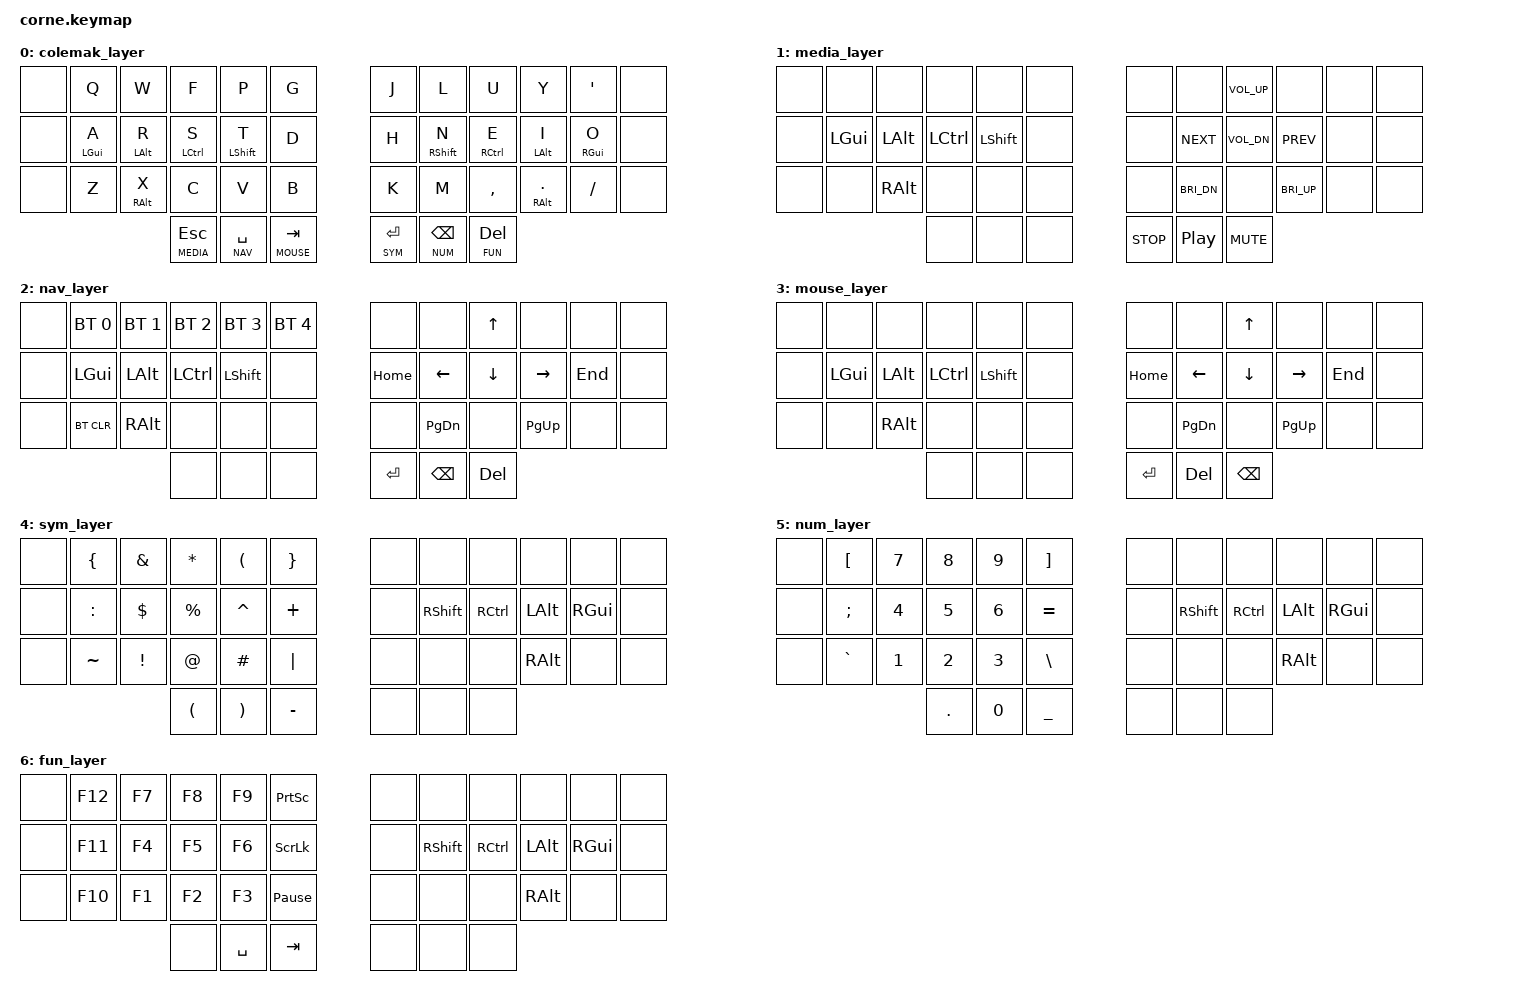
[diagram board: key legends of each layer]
/*
 * Copyright (c) 2020 The ZMK Contributors
 *
 * SPDX-License-Identifier: MIT
 */

#include <behaviors.dtsi>
#include <dt-bindings/zmk/keys.h>
#include <dt-bindings/zmk/bt.h>

#define COLEMAK 0
#define MEDIA 1
#define NAV 2
#define MOUSE 3
#define SYM 4
#define NUM 5
#define FUN 6

/ {
        keymap {
                compatible = "zmk,keymap";

                colemak_layer {
                        bindings = <
   &none &kp Q      &kp W       &kp F          &kp P          &kp G              &kp J         &kp L         &kp U         &kp Y        &kp SQT      &none
   &none &mt LGUI A &mt LALT R  &mt LCTRL S    &mt LSHFT T    &kp D              &kp H         &mt RSHFT N   &mt RCTRL E   &mt LALT I   &mt RGUI O   &none
   &none &kp Z      &mt RALT X  &kp C          &kp V          &kp B              &kp K         &kp M         &kp COMMA     &mt RALT DOT &kp FSLH     &none
                         &lt MEDIA ESC  &lt NAV SPACE &lt MOUSE TAB              &lt SYM ENTER  &lt NUM BSPC  &lt FUN DEL  
                        >;
                };

                media_layer {
                        bindings = <
   &none &none      &none       &none          &none          &none              &none         &none        &kp C_VOL_UP  &none        &none   &none 
   &none &kp LGUI   &kp LALT    &kp LCTRL      &kp LSHFT      &none              &none         &kp C_NEXT   &kp C_VOL_DN  &kp C_PREV   &none   &none
   &none &none      &kp RALT    &none          &none          &none              &none         &kp C_BRI_DN &none         &kp C_BRI_UP &none   &none
                          &none          &none          &none                  &kp C_STOP  &kp C_PP     &kp C_MUTE  
                        >;
                };

                nav_layer {
                        bindings = <
   &none &bt BT_SEL 0 &bt BT_SEL 1 &bt BT_SEL 2   &bt BT_SEL 3   &bt BT_SEL 4       &none         &none        &kp UP        &none        &none    &none
   &none &kp LGUI     &kp LALT     &kp LCTRL      &kp LSHFT      &none              &kp HOME      &kp LEFT     &kp DOWN      &kp RIGHT    &kp END  &none
   &none &bt BT_CLR   &kp RALT     &none          &none          &none              &none         &kp PG_DN    &none         &kp PG_UP    &none    &none
                                   &none          &none          &none              &kp ENTER &kp BSPC   &kp DEL      
                        >;
                };

                mouse_layer {
                        bindings = <
   &none &none      &none       &none          &none          &none              &none         &none        &kp UP        &none        &none    &none
   &none &kp LGUI   &kp LALT    &kp LCTRL      &kp LSHFT      &none              &kp HOME      &kp LEFT     &kp DOWN      &kp RIGHT    &kp END  &none
   &none &none      &kp RALT    &none          &none          &none              &none         &kp PG_DN    &none         &kp PG_UP    &none    &none
                          &none          &none          &none                   &kp ENTER   &kp DEL   &kp BSPC     
                        >;
                };

                sym_layer {
                        bindings = <
   &none &kp LBRC   &kp AMPS    &kp STAR       &kp LPAR       &kp RBRC           &none         &none        &none         &none        &none     &none
   &none &kp COLON  &kp DLLR    &kp PRCNT      &kp CARET      &kp PLUS           &none         &kp RSHFT    &kp RCTRL     &kp LALT     &kp RGUI  &none
   &none &kp TILDE  &kp EXCL    &kp AT         &kp HASH       &kp PIPE           &none         &none        &none         &kp RALT     &none     &none
                               &kp LPAR       &kp RPAR  &kp MINUS                &none         &none        &none
                        >;
                };

                num_layer {
                        bindings = <
   &none &kp LBKT   &kp N7      &kp N8         &kp N9         &kp RBKT           &none         &none        &none         &none        &none     &none
   &none &kp SEMI   &kp N4      &kp N5         &kp N6         &kp EQUAL          &none         &kp RSHFT    &kp RCTRL     &kp LALT     &kp RGUI  &none
   &none &kp GRAVE  &kp N1      &kp N2         &kp N3         &kp BSLH           &none         &none        &none         &kp RALT     &none     &none
                               &kp DOT        &kp N0       &kp UNDER             &none         &none        &none
                        >;
                };

                fun_layer {
                        bindings = <
   &none &kp F12    &kp F7      &kp F8         &kp F9         &kp PSCRN          &none         &none        &none         &none        &none     &none
   &none &kp F11    &kp F4      &kp F5         &kp F6         &kp SLCK           &none         &kp RSHFT    &kp RCTRL     &kp LALT     &kp RGUI  &none
   &none &kp F10    &kp F1      &kp F2         &kp F3         &kp PAUSE_BREAK    &none         &none        &none         &kp RALT     &none     &none
                           &none  &kp SPACE  &kp TAB                &none         &none        &none
                        >;
                };
        };
};
